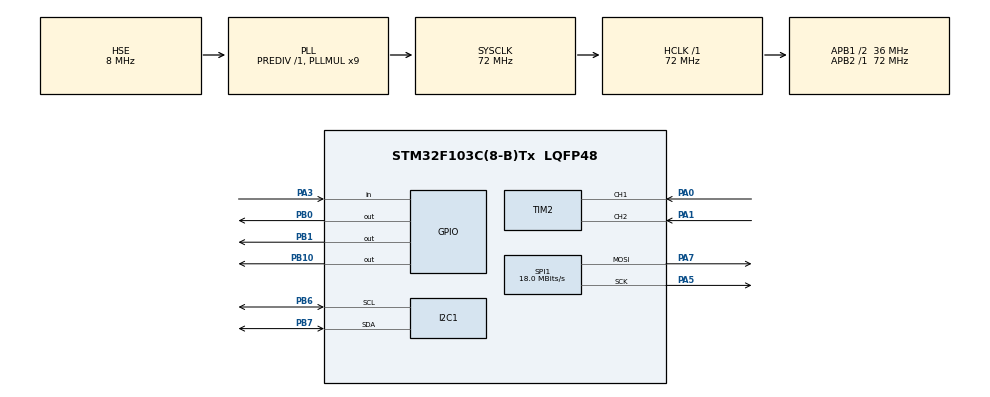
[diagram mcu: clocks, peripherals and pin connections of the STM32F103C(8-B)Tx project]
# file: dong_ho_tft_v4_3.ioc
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Dma.Request0=SPI1_TX
Dma.SPI1_TX.0.Direction=DMA_MEMORY_TO_PERIPH
Dma.SPI1_TX.0.Instance=DMA1_Channel3
Dma.SPI1_TX.0.MemDataAlignment=DMA_MDATAALIGN_BYTE
Dma.SPI1_TX.0.MemInc=DMA_MINC_ENABLE
Dma.SPI1_TX.0.Mode=DMA_NORMAL
Dma.SPI1_TX.0.PeriphDataAlignment=DMA_PDATAALIGN_BYTE
Dma.SPI1_TX.0.PeriphInc=DMA_PINC_DISABLE
Dma.SPI1_TX.0.Priority=DMA_PRIORITY_LOW
Mcu.Family=STM32F1
Mcu.Name=STM32F103C(8-B)Tx
Mcu.Package=LQFP48
NVIC.DMA1_Channel3_IRQn=true\:0\:0\:false\:false\:true\:false\:true\:true
NVIC.PriorityGroup=NVIC_PRIORITYGROUP_4
NVIC.TIM3_IRQn=true\:1\:0\:true\:false\:true\:true\:true\:true
PA0-WKUP.Signal=S_TIM2_CH1_ETR
PA1.Signal=S_TIM2_CH2
PA3.GPIO_PuPd=GPIO_NOPULL
PA3.Signal=GPIO_Input
PA5.Mode=TX_Only_Simplex_Unidirect_Master
PA5.Signal=SPI1_SCK
PA7.Mode=TX_Only_Simplex_Unidirect_Master
PA7.Signal=SPI1_MOSI
PB0.Signal=GPIO_Output
PB1.Signal=GPIO_Output
PB10.Signal=GPIO_Output
PB6.Mode=I2C
PB6.Signal=I2C1_SCL
PB7.Mode=I2C
PB7.Signal=I2C1_SDA
PD0-OSC_IN.Mode=HSE-External-Oscillator
PD0-OSC_IN.Signal=RCC_OSC_IN
PD1-OSC_OUT.Mode=HSE-External-Oscillator
PD1-OSC_OUT.Signal=RCC_OSC_OUT
ProjectManager.HeapSize=0x200
ProjectManager.StackSize=0x400
ProjectManager.TargetToolchain=STM32CubeIDE
RCC.AHBFreq_Value=72000000
RCC.APB1CLKDivider=RCC_HCLK_DIV2
RCC.APB1Freq_Value=36000000
RCC.APB1TimFreq_Value=72000000
RCC.APB2Freq_Value=72000000
RCC.APB2TimFreq_Value=72000000
RCC.HCLKFreq_Value=72000000
RCC.PLLMUL=RCC_PLL_MUL9
RCC.PLLSourceVirtual=RCC_PLLSOURCE_HSE
RCC.SYSCLKFreq_VALUE=72000000
RCC.SYSCLKSource=RCC_SYSCLKSOURCE_PLLCLK
RCC.USBFreq_Value=72000000
SH.S_TIM2_CH1_ETR.0=TIM2_CH1,Encoder_Interface
SH.S_TIM2_CH2.0=TIM2_CH2,Encoder_Interface
SPI1.BaudRatePrescaler=SPI_BAUDRATEPRESCALER_4
SPI1.CalculateBaudRate=18.0 MBits/s
SPI1.Direction=SPI_DIRECTION_2LINES
SPI1.Mode=SPI_MODE_MASTER
SPI1.VirtualType=VM_MASTER
TIM1.Prescaler=71
TIM2.AutoReloadPreload=TIM_AUTORELOAD_PRELOAD_ENABLE
TIM2.EncoderMode=TIM_ENCODERMODE_TI12
TIM3.Period=9999
TIM3.Prescaler=35999
VP_TIM1_VS_ClockSourceINT.Mode=Internal
VP_TIM3_VS_ClockSourceINT.Mode=Internal
board=custom

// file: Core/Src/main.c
/* USER CODE BEGIN Header */
/**
 ******************************************************************************
 * @file           : main.c
 * @brief          : Main program body
 ******************************************************************************
 * @attention
 *
 * Copyright (c) 2023 STMicroelectronics.
 * All rights reserved.
 *
 * This software is licensed under terms that can be found in the LICENSE file
 * in the root directory of this software component.
 * If no LICENSE file comes with this software, it is provided AS-IS.
 *
 ******************************************************************************
 */
/* USER CODE END Header */
#include "main.h"

/* USER CODE BEGIN Includes */
#include "ILI9341_STM32_Driver.h"
#include "ILI9341_GFX.h"
#include <stdio.h>
#include "DS3231.h"
#include"state_machine.h"
#include"button.h"
#include "dht11.h"

/* USER CODE END Includes */

/* USER CODE BEGIN PTD */
typedef enum
{
	MODE_DEFAULT = 0,
	MODE_ON_OFF_ALARM_1,
	MODE_ALARM_1_SEC,
	MODE_ALARM_1_MIN,
	MODE_ALARM_1_HOUR,
	MODE_ON_OFF_ALARM_2,
	MODE_ALARM_2_MIN,
	MODE_ALARM_2_HOUR,
}STATE_Machine_t;
/* USER CODE END PTD */

I2C_HandleTypeDef hi2c1;

SPI_HandleTypeDef hspi1;
DMA_HandleTypeDef hdma_spi1_tx;

TIM_HandleTypeDef htim1;
TIM_HandleTypeDef htim2;
TIM_HandleTypeDef htim3;

/* USER CODE BEGIN PV */
STATE_Machine_t state = MODE_DEFAULT;
BUTTON_HandleTypeDef bien_nut_bam;
uint8_t state;
uint8_t timer3_flag = 1;
uint8_t is_nhay_phim=1;
uint32_t nhay_phim_timer =0;
volatile int32_t Read_encoder = 0;
/* USER CODE END PV */

void SystemClock_Config(void);
static void MX_GPIO_Init(void);
static void MX_DMA_Init(void);
static void MX_I2C1_Init(void);
static void MX_SPI1_Init(void);
static void MX_TIM2_Init(void);
static void MX_TIM1_Init(void);
static void MX_TIM3_Init(void);

/* USER CODE BEGIN 0 */

void HAL_TIM_PeriodElapsedCallback(TIM_HandleTypeDef *htim)
{
	if(htim->Instance == TIM3)
	{
		timer3_flag = 1;
	}
}

void TASK_Handle()
{
	// HANDLE BUTTON

	// READ ENCODER

	// SWITCH STATE
	switch (state)
	{
	case MODE_DEFAULT:
		mode_default();
		// SWITCH BY BUTTON
		break;
	case MODE_ON_OFF_ALARM_1:
		machine_case_0();
		// SWITCH BY ENCODER
		break;
	case MODE_ALARM_1_SEC:
		machine_case_1();
		// SWITCH BY BUTTON
		break;
	case MODE_ALARM_1_MIN:
		machine_case_2();
		// SWITCH BY BUTTON
		break;
	case MODE_ALARM_1_HOUR:
		machine_case_3();
		// SWITCH BY BUTTON
		break;
	case MODE_ON_OFF_ALARM_2:
		machine_case_4();
		// SWITCH BY ENCODER
		break;
	case MODE_ALARM_2_MIN:
		machine_case_5();
		// SWITCH BY BUTTON
		break;
	case MODE_ALARM_2_HOUR:
		machine_case_6();
		// SWITCH BY BUTTON

		break;
	default :
		mode_default();
	}
}

// muon off 1 cai alaram bat ki thi phai bam nut xong xoay chieu giam

/* USER CODE END 0 */

int main(void)
{
  /* USER CODE BEGIN 1 */
	//Set_bit_move_1(0x0E,2);
	uint8_t control=0;
	HAL_I2C_Mem_Read(&hi2c1, DS3231_ADDRESS, 0x0E, 1, &control, 1, 100);
	HAL_I2C_Mem_Write(&hi2c1, DS3231_ADDRESS, 0x0E, 1, (uint8_t *)(control|(0x1C)<<2), 1, 100);
	//HAL_I2C_Mem_Write(&hi2c1, DS3231_ADDRESS, 0x0E, 8, 00000111, 1, 1000);
  /* USER CODE END 1 */

  /* MCU Configuration--------------------------------------------------------*/

  /* Reset of all peripherals, Initializes the Flash interface and the Systick. */
  HAL_Init();

  /* Configure the system clock */
  SystemClock_Config();

  /* Initialize all configured peripherals */
  MX_GPIO_Init();
  MX_DMA_Init();
  MX_I2C1_Init();
  MX_SPI1_Init();
  MX_TIM2_Init();
  MX_TIM1_Init();
  MX_TIM3_Init();
  /* USER CODE BEGIN 2 */
  HAL_TIM_Base_Start(&htim1);
  BUTTON_Init(&bien_nut_bam,GPIOA,GPIO_PIN_3);
  //Set_Time(57,15,15,4,3,1,24);
  HAL_TIM_Base_Start_IT(&htim3);
	HAL_TIM_Encoder_Start(&htim2, TIM_CHANNEL_ALL);
	ILI9341_Init();
	ILI9341_FillScreen(WHITE);
	ILI9341_SetRotation(SCREEN_HORIZONTAL_2);
	//uint32_t timer_1 = HAL_GetTick();
	ILI9341_DrawText("AL1:", FONT6, 10, 125, BLACK, WHITE);
	ILI9341_DrawText("AL2:", FONT6, 10, 175, BLACK, WHITE);

	// Set_Alaram_1(10,5,9);
	 //Set_Alaram_2(17,42);
	//alarm.status_alaram_1 = 0;
	//alarm.status_alaram_2 = 0;
	// ILI9341_DrawFilledCircle(150,115,5,RED);
  /* USER CODE END 2 */

  /* Infinite loop */
  /* USER CODE BEGIN WHILE */
	while (1)
	{
		//Set_bit_move_1(0x0E,2);
		//Set_bit_move_0(0x0E,6);
		//Set_bit_move_0(0x0E,7);

		//mode_default();
		//Read_Alaram();
		read_dht11();

		//BUTTON_Handle(&bien_nut_bam);
		//if(bien_nut_bam.counter==2)
		//{
			//bien_nut_bam.counter=0;
			//machine_case_0();

	//	}

			//void TASK_Handle();

		//void TASK_Handle();
    /* USER CODE END WHILE */

    /* USER CODE BEGIN 3 */
		//TASK_Handle();
	}
  /* USER CODE END 3 */
}

void SystemClock_Config(void)
{
  RCC_OscInitTypeDef RCC_OscInitStruct = {0};
  RCC_ClkInitTypeDef RCC_ClkInitStruct = {0};

  /** Initializes the RCC Oscillators according to the specified parameters
  * in the RCC_OscInitTypeDef structure.
  */
  RCC_OscInitStruct.OscillatorType = RCC_OSCILLATORTYPE_HSE;
  RCC_OscInitStruct.HSEState = RCC_HSE_ON;
  RCC_OscInitStruct.HSEPredivValue = RCC_HSE_PREDIV_DIV1;
  RCC_OscInitStruct.HSIState = RCC_HSI_ON;
  RCC_OscInitStruct.PLL.PLLState = RCC_PLL_ON;
  RCC_OscInitStruct.PLL.PLLSource = RCC_PLLSOURCE_HSE;
  RCC_OscInitStruct.PLL.PLLMUL = RCC_PLL_MUL9;
  if (HAL_RCC_OscConfig(&RCC_OscInitStruct) != HAL_OK)
  {
    Error_Handler();
  }

  /** Initializes the CPU, AHB and APB buses clocks
  */
  RCC_ClkInitStruct.ClockType = RCC_CLOCKTYPE_HCLK|RCC_CLOCKTYPE_SYSCLK
                              |RCC_CLOCKTYPE_PCLK1|RCC_CLOCKTYPE_PCLK2;
  RCC_ClkInitStruct.SYSCLKSource = RCC_SYSCLKSOURCE_PLLCLK;
  RCC_ClkInitStruct.AHBCLKDivider = RCC_SYSCLK_DIV1;
  RCC_ClkInitStruct.APB1CLKDivider = RCC_HCLK_DIV2;
  RCC_ClkInitStruct.APB2CLKDivider = RCC_HCLK_DIV1;

  if (HAL_RCC_ClockConfig(&RCC_ClkInitStruct, FLASH_LATENCY_2) != HAL_OK)
  {
    Error_Handler();
  }
}

static void MX_I2C1_Init(void)
{

  hi2c1.Instance = I2C1;
  hi2c1.Init.ClockSpeed = 100000;
  hi2c1.Init.DutyCycle = I2C_DUTYCYCLE_2;
  hi2c1.Init.OwnAddress1 = 0;
  hi2c1.Init.AddressingMode = I2C_ADDRESSINGMODE_7BIT;
  hi2c1.Init.DualAddressMode = I2C_DUALADDRESS_DISABLE;
  hi2c1.Init.OwnAddress2 = 0;
  hi2c1.Init.GeneralCallMode = I2C_GENERALCALL_DISABLE;
  hi2c1.Init.NoStretchMode = I2C_NOSTRETCH_DISABLE;
  if (HAL_I2C_Init(&hi2c1) != HAL_OK)
  {
    Error_Handler();
  }

}

static void MX_SPI1_Init(void)
{

  /* SPI1 parameter configuration*/
  hspi1.Instance = SPI1;
  hspi1.Init.Mode = SPI_MODE_MASTER;
  hspi1.Init.Direction = SPI_DIRECTION_2LINES;
  hspi1.Init.DataSize = SPI_DATASIZE_8BIT;
  hspi1.Init.CLKPolarity = SPI_POLARITY_LOW;
  hspi1.Init.CLKPhase = SPI_PHASE_1EDGE;
  hspi1.Init.NSS = SPI_NSS_SOFT;
  hspi1.Init.BaudRatePrescaler = SPI_BAUDRATEPRESCALER_4;
  hspi1.Init.FirstBit = SPI_FIRSTBIT_MSB;
  hspi1.Init.TIMode = SPI_TIMODE_DISABLE;
  hspi1.Init.CRCCalculation = SPI_CRCCALCULATION_DISABLE;
  hspi1.Init.CRCPolynomial = 10;
  if (HAL_SPI_Init(&hspi1) != HAL_OK)
  {
    Error_Handler();
  }

}

static void MX_TIM1_Init(void)
{

  TIM_ClockConfigTypeDef sClockSourceConfig = {0};
  TIM_MasterConfigTypeDef sMasterConfig = {0};

  htim1.Instance = TIM1;
  htim1.Init.Prescaler = 71;
  htim1.Init.CounterMode = TIM_COUNTERMODE_UP;
  htim1.Init.Period = 65535;
  htim1.Init.ClockDivision = TIM_CLOCKDIVISION_DIV1;
  htim1.Init.RepetitionCounter = 0;
  htim1.Init.AutoReloadPreload = TIM_AUTORELOAD_PRELOAD_DISABLE;
  if (HAL_TIM_Base_Init(&htim1) != HAL_OK)
  {
    Error_Handler();
  }
  sClockSourceConfig.ClockSource = TIM_CLOCKSOURCE_INTERNAL;
  if (HAL_TIM_ConfigClockSource(&htim1, &sClockSourceConfig) != HAL_OK)
  {
    Error_Handler();
  }
  sMasterConfig.MasterOutputTrigger = TIM_TRGO_RESET;
  sMasterConfig.MasterSlaveMode = TIM_MASTERSLAVEMODE_DISABLE;
  if (HAL_TIMEx_MasterConfigSynchronization(&htim1, &sMasterConfig) != HAL_OK)
  {
    Error_Handler();
  }

}

static void MX_TIM2_Init(void)
{

  TIM_Encoder_InitTypeDef sConfig = {0};
  TIM_MasterConfigTypeDef sMasterConfig = {0};

  htim2.Instance = TIM2;
  htim2.Init.Prescaler = 0;
  htim2.Init.CounterMode = TIM_COUNTERMODE_UP;
  htim2.Init.Period = 65535;
  htim2.Init.ClockDivision = TIM_CLOCKDIVISION_DIV1;
  htim2.Init.AutoReloadPreload = TIM_AUTORELOAD_PRELOAD_ENABLE;
  sConfig.EncoderMode = TIM_ENCODERMODE_TI12;
  sConfig.IC1Polarity = TIM_ICPOLARITY_RISING;
  sConfig.IC1Selection = TIM_ICSELECTION_DIRECTTI;
  sConfig.IC1Prescaler = TIM_ICPSC_DIV1;
  sConfig.IC1Filter = 0;
  sConfig.IC2Polarity = TIM_ICPOLARITY_RISING;
  sConfig.IC2Selection = TIM_ICSELECTION_DIRECTTI;
  sConfig.IC2Prescaler = TIM_ICPSC_DIV1;
  sConfig.IC2Filter = 0;
  if (HAL_TIM_Encoder_Init(&htim2, &sConfig) != HAL_OK)
  {
    Error_Handler();
  }
  sMasterConfig.MasterOutputTrigger = TIM_TRGO_RESET;
  sMasterConfig.MasterSlaveMode = TIM_MASTERSLAVEMODE_DISABLE;
  if (HAL_TIMEx_MasterConfigSynchronization(&htim2, &sMasterConfig) != HAL_OK)
  {
    Error_Handler();
  }

}

static void MX_TIM3_Init(void)
{

  TIM_ClockConfigTypeDef sClockSourceConfig = {0};
  TIM_MasterConfigTypeDef sMasterConfig = {0};

  htim3.Instance = TIM3;
  htim3.Init.Prescaler = 35999;
  htim3.Init.CounterMode = TIM_COUNTERMODE_UP;
  htim3.Init.Period = 9999;
  htim3.Init.ClockDivision = TIM_CLOCKDIVISION_DIV1;
  htim3.Init.AutoReloadPreload = TIM_AUTORELOAD_PRELOAD_DISABLE;
  if (HAL_TIM_Base_Init(&htim3) != HAL_OK)
  {
    Error_Handler();
  }
  sClockSourceConfig.ClockSource = TIM_CLOCKSOURCE_INTERNAL;
  if (HAL_TIM_ConfigClockSource(&htim3, &sClockSourceConfig) != HAL_OK)
  {
    Error_Handler();
  }
  sMasterConfig.MasterOutputTrigger = TIM_TRGO_RESET;
  sMasterConfig.MasterSlaveMode = TIM_MASTERSLAVEMODE_DISABLE;
  if (HAL_TIMEx_MasterConfigSynchronization(&htim3, &sMasterConfig) != HAL_OK)
  {
    Error_Handler();
  }

}

static void MX_DMA_Init(void)
{

  /* DMA controller clock enable */
  __HAL_RCC_DMA1_CLK_ENABLE();

  /* DMA interrupt init */
  /* DMA1_Channel3_IRQn interrupt configuration */
  HAL_NVIC_SetPriority(DMA1_Channel3_IRQn, 0, 0);
  HAL_NVIC_EnableIRQ(DMA1_Channel3_IRQn);

}

static void MX_GPIO_Init(void)
{
  GPIO_InitTypeDef GPIO_InitStruct = {0};

  /* GPIO Ports Clock Enable */
  __HAL_RCC_GPIOD_CLK_ENABLE();
  __HAL_RCC_GPIOA_CLK_ENABLE();
  __HAL_RCC_GPIOB_CLK_ENABLE();

  /*Configure GPIO pin Output Level */
  HAL_GPIO_WritePin(GPIOB, GPIO_PIN_0|GPIO_PIN_1|GPIO_PIN_10, GPIO_PIN_RESET);

  /*Configure GPIO pin : PA3 */
  GPIO_InitStruct.Pin = GPIO_PIN_3;
  GPIO_InitStruct.Mode = GPIO_MODE_INPUT;
  GPIO_InitStruct.Pull = GPIO_NOPULL;
  HAL_GPIO_Init(GPIOA, &GPIO_InitStruct);

  /*Configure GPIO pins : PB0 PB1 PB10 */
  GPIO_InitStruct.Pin = GPIO_PIN_0|GPIO_PIN_1|GPIO_PIN_10;
  GPIO_InitStruct.Mode = GPIO_MODE_OUTPUT_PP;
  GPIO_InitStruct.Pull = GPIO_NOPULL;
  GPIO_InitStruct.Speed = GPIO_SPEED_FREQ_LOW;
  HAL_GPIO_Init(GPIOB, &GPIO_InitStruct);

}

/* USER CODE BEGIN 4 */
//void HAL_GPIO_EXTI_Callback(uint16_t GPIO_Pin)
//{
	//if ((GPIO_Pin == GPIO_PIN_3) && (is_nhay_phim ==1))
	//{
		//	is_nhay_phim=0;
		//	nhay_phim_timer = HAL_GetTick();
//	}
//}
/* USER CODE END 4 */

void Error_Handler(void)
{
	__disable_irq();
	while (1)
	{
	}
}
